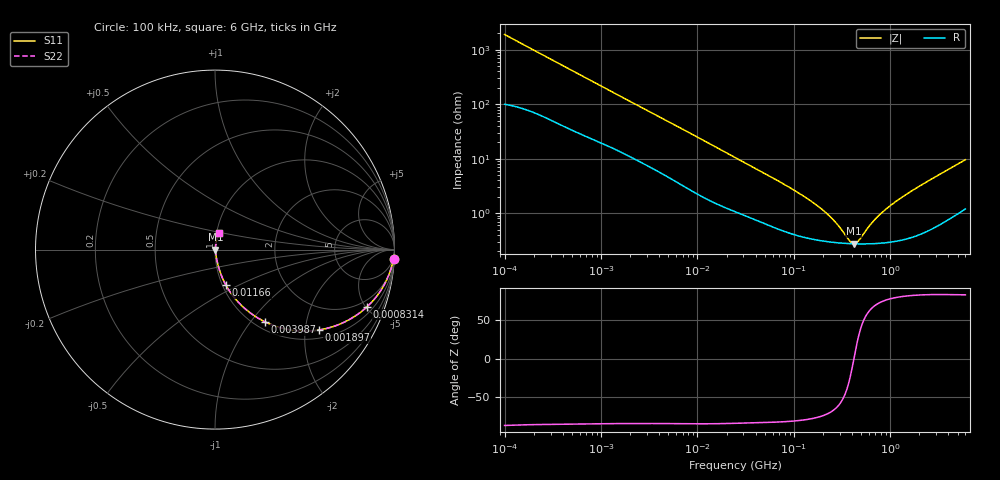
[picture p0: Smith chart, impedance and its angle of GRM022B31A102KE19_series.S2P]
!Murata Part Number: GRM022B31A102KE19
!These Parameters are Measured in Series Mode Connection
!  o--ll--o
!Port1  Port2
!  o------o
!Operation Temp=25[C], DC Bias Voltage=0[V]
!Freq. Start=100[kHz] Stop=6[GHz], 401[Steps]
# Hz S RI R 50
!Freq.(Hz)	S 11(Real)	S 11(Imag)	S 21(Real)	S 21(Imag)	S 12(Real)	S 12(Imag)	S 22(Real)	S 22(Imag)
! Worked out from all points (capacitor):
!   401 points, 100 kHz to 6 GHz, reference 50 ohm
!   read as one part in series: C = 823 pF near 105.7 kHz
!   lowest |Z| = 274 mohm at 416.3 MHz (marker M1)
!   series resonance near 419.4 MHz, so ESL is about 180 pH
!   S11 on the Smith chart (normalised r, x): 100 kHz: 3, -38; 831.4 kHz: 1.45, -5.11; 1.897 MHz: 1.23, -2.36; 3.987 MHz: 1.11, -1.18; 11.66 MHz: 1.04, -0.43; 6 GHz: 1.02, +0.19
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100000  0.9946 -0.0517  0.00541 0.0517  0.00541 0.0517  0.9946 -0.0517
269174.3  0.9731 -0.1284  0.0269 0.1284  0.0269 0.1284  0.9731 -0.1284
631452  0.8989 -0.2626  0.1011 0.2626  0.1011 0.2626  0.8989 -0.2626
831369.6  0.8476 -0.3182  0.1524 0.3182  0.1524 0.3182  0.8476 -0.3182
1221882  0.7426 -0.393  0.2574 0.393  0.2574 0.393  0.7426 -0.393
1897385  0.5772 -0.4481  0.4228 0.4481  0.4228 0.4481  0.5772 -0.4481
2712972  0.4261 -0.4483  0.5739 0.4483  0.5739 0.4483  0.4261 -0.4483
3987316  0.2787 -0.4027  0.7213 0.4027  0.7213 0.4027  0.2787 -0.4027
6724235  0.1379 -0.3015  0.8621 0.3015  0.8621 0.3015  0.1379 -0.3015
1.165602e7  0.0604 -0.1974  0.9396 0.1974  0.9396 0.1974  0.0604 -0.1974
2.517799e7  0.0204 -0.0993  0.9796 0.0993  0.9796 0.0993  0.0204 -0.0993
7.776452e7  0.00581 -0.0338  0.9942 0.0338  0.9942 0.0338  0.00581 -0.0338
1.546735e8  0.00356 -0.0156  0.9964 0.0156  0.9964 0.0156  0.00356 -0.0156
2.401829e8  0.00299 -0.0079  0.997 0.0079  0.997 0.0079  0.00299 -0.0079
2.911787e8  0.00286 -0.00504  0.9971 0.00504  0.9971 0.00504  0.00286 -0.00504
3.72965e8  0.00275 -0.00159  0.9972 0.00159  0.9972 0.00159  0.00275 -0.00159
4.163414e8  0.00273 -9.77e-05  0.9973 9.77e-05  0.9973 9.77e-05  0.00273 -9.77e-05
4.647625e8  0.00272 0.0014  0.9973 -0.0014  0.9973 -0.0014  0.00272 0.0014
6.645398e8  0.00278 0.00649  0.9972 -0.00649  0.9972 -0.00649  0.00278 0.00649
9.76689e8  0.00307 0.0129  0.9969 -0.0129  0.9969 -0.0129  0.00307 0.0129
1.942633e9  0.0048 0.0298  0.9952 -0.0298  0.9952 -0.0298  0.0048 0.0298
6e9  0.0205 0.0921  0.9795 -0.0921  0.9795 -0.0921  0.0205 0.0921
